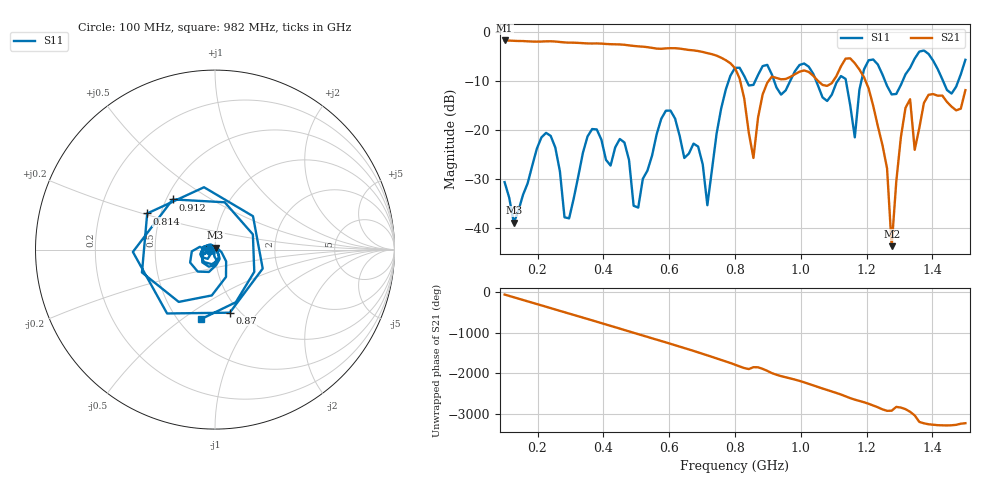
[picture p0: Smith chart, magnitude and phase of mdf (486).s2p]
! NanoVNA-App
! Date: 2025-09-25 15:42:12
! Start: 100MHz Stop: 1,5GHz Points: 101
! S-Parameter data: F S11 S21 S12 S22
# Hz S RI R 50
!  Frequency  S11_Real  S11_Imag  S21_Real  S21_Imag  S12_Real  S12_Imag  S22_Real  S22_Imag
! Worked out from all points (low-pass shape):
!   101 points, 100 MHz to 1.5 GHz, reference 50 ohm
!   highest |S21| = -1.80 dB at 100 MHz (marker M1); lowest = -43.8 dB at 1.276 GHz (marker M2)
!   |S21| within 3 dB of the highest: start of sweep to 739.3 MHz
!   lowest |S11| = -39.0 dB at 128 MHz (marker M3), VSWR 1.02, Z = 50.3 + j1.07 ohm
!   |S11| at or under -10 dB: start of sweep to 781.1 MHz; 918.6 MHz to 968.2 MHz (49.55 MHz wide, 5.25 % of centre); 1.046 GHz to 1.113 GHz (66.55 MHz wide, 6.17 % of centre) (the widest 3 of 7)
!   S12 and S22 are empty: the file has one direction only
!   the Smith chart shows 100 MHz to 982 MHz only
!   S11 on the Smith chart (normalised r, x): 100 MHz: 0.94, -0.01; 814 MHz: 0.42, +0.21; 870 MHz: 0.90, -0.73; 912 MHz: 0.54, +0.35; 982 MHz: 0.65, -0.59
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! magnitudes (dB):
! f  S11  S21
! 100 MHz  -30.7  -1.8
! 128 MHz  -39.0  -1.9
! 212 MHz  -21.6  -2.0
! 282 MHz  -37.9  -2.2
! 338 MHz  -24.7  -2.4
! 464 MHz  -22.6  -2.7
! 506 MHz  -35.9  -3.0
! 576 MHz  -17.8  -3.5
! 716 MHz  -35.4  -4.4
! 800 MHz  -7.4  -7.5
! 814 MHz  -7.4  -9.6
! 856 MHz  -10.9  -25.8
! 870 MHz  -8.8  -17.6
! 912 MHz  -8.7  -9.2
! 982 MHz  -8.1  -8.7
! 1.038 GHz  -8.6  -9.0
! 1.164 GHz  -21.6  -6.4
! 1.192 GHz  -7.7  -9.3
! 1.262 GHz  -11.1  -27.9
! 1.276 GHz  -12.8  -43.8
! 1.318 GHz  -8.7  -15.6
! 1.5 GHz  -5.8  -11.9
